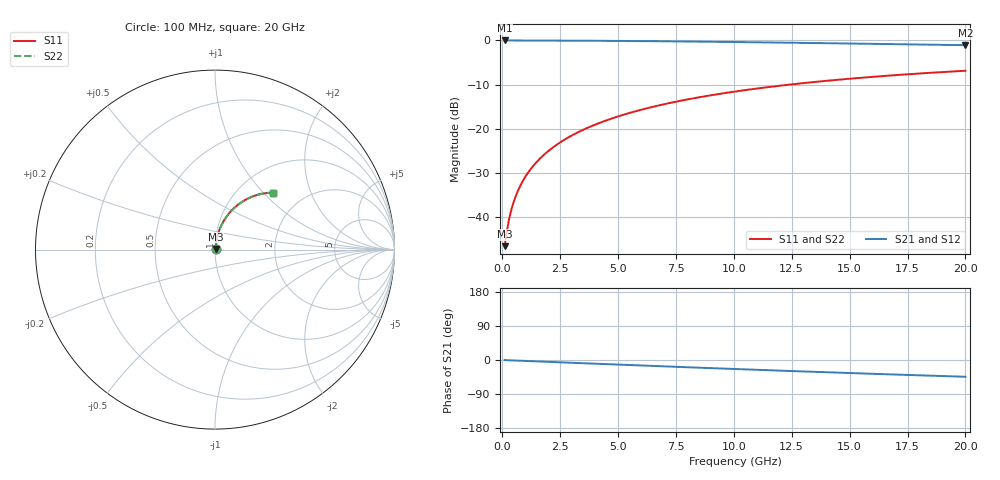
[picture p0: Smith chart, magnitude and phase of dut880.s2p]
! Touchstone file exported from HFSS 2026.1.0
!  File:  C:/ffzhzh/LocalFiles/Ansys_Project_Files/temp_train_BSMRDL_880_1783171065_22436.aedt
!  Generated:  09:19:03 PM Jul  4, 2026
!  Design:  BSMRDL
!  Project:  temp_train_BSMRDL_880_1783171065_22436
! Variables:
!  h_bsmrdl = 2.92um
!  h_ox = 20um
!  h_rdl = 5um
!  h_sub = 80um
!  h_tmrdl = 5um
!  h_tsv = 80um
!  h_via = 3um
!  l_bsmrdl = 602.68um
!  l_sub = 1002.68um
!  l_tmrdl = 200um
!  m_sub = 200um
!  pitch = 57.39um
!  r_tsv = 6um
!  s_tmrdl = 10um
!  w_bsmrdl = 21.43um
!  w_sub = 500um
!  w_tmrdl = 12um
!  x_tsv_center1 = 206um
!  x_tsv_center2 = 830.11um
!  x_tsv_center3 = 1042.11um
!  x_tsv_center4 = 1666.22um
!  x_tsv_center5 = 1878.22um
!  x_tsv_center6 = 2502.33um
# GHz S MA R 50.000000
! Terminal data exported
! Port[1] = BSM_RDL1_1_T1
! Port[2] = BSM_RDL1_1_T2
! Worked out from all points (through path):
!   200 points, 100 MHz to 20 GHz, reference 50 ohm
!   highest |S21| = -0.03 dB at 100 MHz (marker M1); lowest = -1.1 dB at 20 GHz (marker M2)
!   group delay of S21, straight-line fit = 6.17 ps
!   lowest |S11| = -46.5 dB at 100 MHz (marker M3), VSWR 1.01, Z = 50.4 + j0.303 ohm
!   |S11| at or under -10 dB: start of sweep to 12.42 GHz
!   |S22| runs from -46.5 to -6.9 dB; largest |S21 - S12| = 2.6e-15
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0.1  0.004718 39.6  0.9964 -0.3  0.9964 -0.3  0.004718 39.6
! Gamma 0 0 0 0
! Port Impedance 50 0 50 0
0.2  0.007063 57.6  0.9962 -0.5  0.9962 -0.5  0.007063 57.6
0.3  0.009712 65.7  0.9961 -0.8  0.9961 -0.8  0.009712 65.7
0.4  0.01243 70.1  0.9959 -1.0  0.9959 -1.0  0.01243 70.1
0.5  0.01515 72.9  0.9958 -1.3  0.9958 -1.3  0.01515 72.9
0.6  0.01788 74.8  0.9956 -1.5  0.9956 -1.5  0.01788 74.8
0.8  0.02334 77.2  0.9954 -2.0  0.9954 -2.0  0.02335 77.2
1.1  0.03158 79.0  0.995 -2.7  0.995 -2.7  0.03158 79.0
1.5  0.04261 80.0  0.9945 -3.7  0.9945 -3.7  0.04261 80.0
1.8  0.0509 80.2  0.994 -4.4  0.994 -4.4  0.0509 80.2
2.1  0.05918 80.2  0.9935 -5.1  0.9935 -5.1  0.05919 80.2
2.7  0.07572 79.6  0.9922 -6.6  0.9922 -6.6  0.07572 79.6
3.5  0.09763 78.4  0.99 -8.5  0.99 -8.5  0.09763 78.4
4.2  0.1166 77.1  0.9877 -10.2  0.9877 -10.2  0.1166 77.1
5  0.138 75.5  0.9846 -12.1  0.9846 -12.1  0.138 75.4
5.9  0.1617 73.6  0.9806 -14.3  0.9806 -14.3  0.1617 73.5
6.8  0.1848 71.6  0.9762 -16.4  0.9762 -16.4  0.1848 71.5
8.3  0.2222 68.3  0.9677 -19.8  0.9677 -19.8  0.2222 68.2
10.1  0.2649 64.4  0.9562 -23.9  0.9562 -23.9  0.2649 64.3
13.4  0.3366 57.4  0.9325 -31.1  0.9325 -31.1  0.3366 57.3
16.7  0.3993 50.8  0.9068 -37.9  0.9068 -37.9  0.3993 50.6
20  0.4531 44.5  0.881 -44.3  0.881 -44.3  0.4532 44.4
